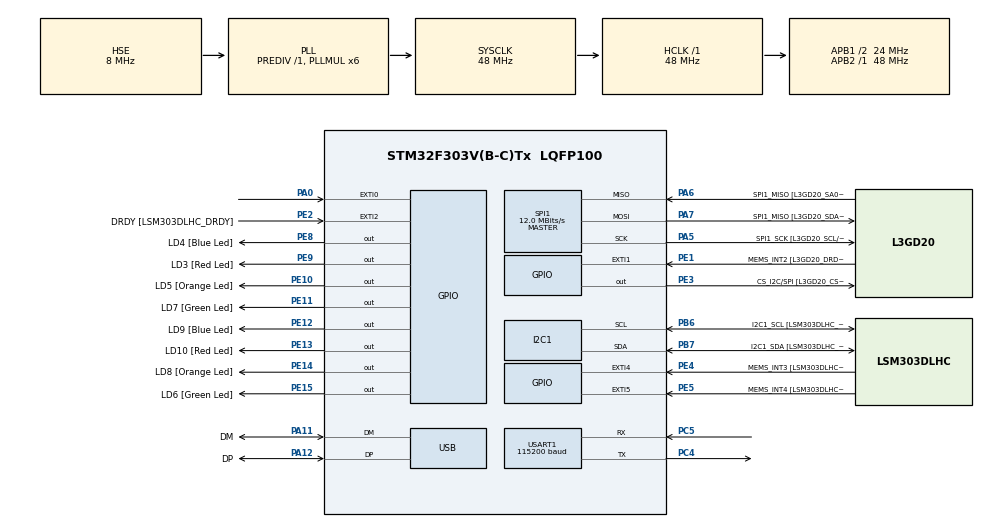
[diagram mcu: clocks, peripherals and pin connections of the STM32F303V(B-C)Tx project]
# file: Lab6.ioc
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I2C1.Timing=0x2000090E
I2C1.Timing-I2C=0x2000090E
Mcu.Family=STM32F3
Mcu.Name=STM32F303V(B-C)Tx
Mcu.Package=LQFP100
NVIC.EXTI0_IRQn=true\:0\:0\:false\:false\:true\:true\:true\:true
NVIC.PriorityGroup=NVIC_PRIORITYGROUP_0
NVIC.TIM2_IRQn=true\:0\:0\:false\:false\:true\:true\:true\:true
PA0.GPIO_PuPd=GPIO_PULLDOWN
PA0.Signal=GPXTI0
PA11.GPIO_Label=DM
PA11.Mode=Device
PA11.Signal=USB_DM
PA12.GPIO_Label=DP
PA12.Mode=Device
PA12.Signal=USB_DP
PA13.GPIO_Label=SWDIO
PA13.Mode=Serial_Wire
PA13.Signal=SYS_JTMS-SWDIO
PA14.GPIO_Label=SWCLK
PA14.Mode=Serial_Wire
PA14.Signal=SYS_JTCK-SWCLK
PA5.GPIO_Label=SPI1_SCK [L3GD20_SCL/SPC]
PA5.Mode=Full_Duplex_Master
PA5.Signal=SPI1_SCK
PA6.GPIO_Label=SPI1_MISO [L3GD20_SA0/SDO]
PA6.Mode=Full_Duplex_Master
PA6.Signal=SPI1_MISO
PA7.GPIO_Label=SPI1_MISO [L3GD20_SDA/SDI/SDO]
PA7.Mode=Full_Duplex_Master
PA7.Signal=SPI1_MOSI
PB3.GPIO_Label=SWO
PB3.Signal=SYS_JTDO-TRACESWO
PB6.GPIO_Label=I2C1_SCL [LSM303DLHC_SCL]
PB6.GPIO_Pu=GPIO_PULLUP
PB6.Mode=I2C
PB6.Signal=I2C1_SCL
PB7.GPIO_Label=I2C1_SDA [LSM303DLHC_SDA]
PB7.GPIO_Pu=GPIO_PULLUP
PB7.Mode=I2C
PB7.Signal=I2C1_SDA
PC14-OSC32_IN.GPIO_Label=OSC32_IN
PC14-OSC32_IN.Signal=RCC_OSC32_IN
PC15-OSC32_OUT.GPIO_Label=OSC32_OUT
PC15-OSC32_OUT.Signal=RCC_OSC32_OUT
PC4.Mode=Asynchronous
PC4.Signal=USART1_TX
PC5.Mode=Asynchronous
PC5.Signal=USART1_RX
PE1.GPIO_Label=MEMS_INT2 [L3GD20_DRDY/INT2]
PE1.GPIO_ModeDefaultEXTI=GPIO_MODE_EVT_RISING
PE1.Signal=GPXTI1
PE10.GPIO_Label=LD5 [Orange Led]
PE10.Signal=GPIO_Output
PE11.GPIO_Label=LD7 [Green Led]
PE11.Signal=GPIO_Output
PE12.GPIO_Label=LD9 [Blue Led]
PE12.Signal=GPIO_Output
PE13.GPIO_Label=LD10 [Red Led]
PE13.Signal=GPIO_Output
PE14.GPIO_Label=LD8 [Orange Led]
PE14.Signal=GPIO_Output
PE15.GPIO_Label=LD6 [Green Led]
PE15.Signal=GPIO_Output
PE2.GPIO_Label=DRDY [LSM303DLHC_DRDY]
PE2.GPIO_ModeDefaultEXTI=GPIO_MODE_EVT_RISING
PE2.Signal=GPXTI2
PE3.GPIO_Label=CS_I2C/SPI [L3GD20_CS_I2C/SPI]
PE3.Signal=GPIO_Output
PE4.GPIO_Label=MEMS_INT3 [LSM303DLHC_INT1]
PE4.GPIO_ModeDefaultEXTI=GPIO_MODE_EVT_RISING
PE4.Signal=GPXTI4
PE5.GPIO_Label=MEMS_INT4 [LSM303DLHC_INT2]
PE5.GPIO_ModeDefaultEXTI=GPIO_MODE_EVT_RISING
PE5.Signal=GPXTI5
PE8.GPIO_Label=LD4 [Blue Led]
PE8.Signal=GPIO_Output
PE9.GPIO_Label=LD3 [Red Led]
PE9.Signal=GPIO_Output
PF0-OSC_IN.GPIO_Label=OSC_IN
PF0-OSC_IN.Mode=HSE-External-Clock-Source
PF0-OSC_IN.Signal=RCC_OSC_IN
PF1-OSC_OUT.GPIO_Label=OSC_OUT
PF1-OSC_OUT.Signal=RCC_OSC_OUT
ProjectManager.HeapSize=0x200
ProjectManager.StackSize=0x400
ProjectManager.TargetToolchain=CMake
RCC.AHBFreq_Value=48000000
RCC.APB1CLKDivider=RCC_HCLK_DIV2
RCC.APB1Freq_Value=24000000
RCC.APB1TimFreq_Value=48000000
RCC.APB2Freq_Value=48000000
RCC.APB2TimFreq_Value=48000000
RCC.CortexFreq_Value=48000000
RCC.HCLKFreq_Value=48000000
RCC.HSE_VALUE=8000000
RCC.HSI_VALUE=8000000
RCC.LSE_VALUE=32768
RCC.PLLMUL=RCC_PLL_MUL6
RCC.SYSCLKFreq_VALUE=48000000
RCC.SYSCLKSourceVirtual=RCC_SYSCLKSOURCE_PLLCLK
RCC.USBFreq_Value=48000000
SPI1.BaudRatePrescaler=SPI_BAUDRATEPRESCALER_4
SPI1.BaudRatePrescaler-Full_Duplex_Master=SPI_BAUDRATEPRESCALER_2
SPI1.CalculateBaudRate=12.0 MBits/s
SPI1.CalculateBaudRate-Full_Duplex_Master=24.0 MBits/s
SPI1.Direction=SPI_DIRECTION_2LINES
SPI1.Mode=SPI_MODE_MASTER
SPI1.Mode-Full_Duplex_Master=SPI_MODE_MASTER
SPI1.VirtualType=VM_MASTER
TIM2.Prescaler=9
USART1.BaudRate=115200
USART1.VirtualMode-Asynchronous=VM_ASYNC
VP_TIM2_VS_ClockSourceINT.Mode=Internal
board=STM32F3DISCOVERY

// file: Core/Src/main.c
/* USER CODE BEGIN Header */
/**
  ******************************************************************************
  * @file           : main.c
  * @brief          : Main program body
  ******************************************************************************
  * @attention
  *
  * Copyright (c) 2026 STMicroelectronics.
  * All rights reserved.
  *
  * This software is licensed under terms that can be found in the LICENSE file
  * in the root directory of this software component.
  * If no LICENSE file comes with this software, it is provided AS-IS.
  *
  ******************************************************************************
  */
/* USER CODE END Header */
#include "main.h"
#include "stdio.h"
#include "stm32f3xx_hal_gpio.h"

I2C_HandleTypeDef hi2c1;

SPI_HandleTypeDef hspi1;

TIM_HandleTypeDef htim2;

UART_HandleTypeDef huart1;

PCD_HandleTypeDef hpcd_USB_FS;

/* USER CODE BEGIN PV */
volatile uint8_t first = 1;
volatile uint8_t check = 0;
volatile uint8_t idx = 0;
volatile uint32_t ticks[10] = {0};
uint32_t freq = 0;

/* USER CODE END PV */

void SystemClock_Config(void);
static void MX_GPIO_Init(void);
static void MX_I2C1_Init(void);
static void MX_SPI1_Init(void);
static void MX_TIM2_Init(void);
static void MX_USB_PCD_Init(void);
static void MX_USART1_UART_Init(void);

/* USER CODE BEGIN 0 */
void HAL_GPIO_EXTI_Callback(uint16_t GPIO_Pin)
{
  if (GPIO_Pin == GPIO_PIN_0) {
    if (first == 1) {
      first = 0;
      __HAL_TIM_SET_COUNTER(&htim2, 0);
      HAL_TIM_Base_Start(&htim2);
      HAL_GPIO_TogglePin(GPIOE, GPIO_PIN_15);
    } else if (first == 0) {
      uint32_t cap = __HAL_TIM_GET_COUNTER(&htim2);
      first = 1;
      HAL_TIM_Base_Stop(&htim2);

      if (!check) {
        ticks[idx] = cap;
        idx++;
        if (idx >= 10) {
          check = 1;
        }
      }
    }
  }
}

/* USER CODE END 0 */

int main(void)
{

  /* MCU Configuration--------------------------------------------------------*/

  /* Reset of all peripherals, Initializes the Flash interface and the Systick. */
  HAL_Init();

  /* Configure the system clock */
  SystemClock_Config();

  /* Initialize all configured peripherals */
  MX_GPIO_Init();
  MX_I2C1_Init();
  MX_SPI1_Init();
  MX_TIM2_Init();
  MX_USB_PCD_Init();
  MX_USART1_UART_Init();

  /* Infinite loop */
  while (1)
  {
    /* USER CODE BEGIN 3 */
    if (check)
    {
        check = 0;
        uint32_t sum = 0;
        for (int i = 0; i < 10; i++)
        {
            sum += ticks[i];
        }
        idx = 0;
        uint32_t avg = sum / 10;
        uint32_t freq_int = 4800000 / avg;
        uint32_t err_int = 4800000 / (avg * avg);
        char msg[80];
        int len = snprintf(msg, sizeof(msg), "Freq: %ld +/- %ld Hz\r\n", freq_int, err_int);
        HAL_UART_Transmit(&huart1, (uint8_t*)msg, len, HAL_MAX_DELAY);
    }
    HAL_Delay(100);
  }
  /* USER CODE END 3 */
}

void SystemClock_Config(void)
{
  RCC_OscInitTypeDef RCC_OscInitStruct = {0};
  RCC_ClkInitTypeDef RCC_ClkInitStruct = {0};
  RCC_PeriphCLKInitTypeDef PeriphClkInit = {0};

  /** Initializes the RCC Oscillators according to the specified parameters
  * in the RCC_OscInitTypeDef structure.
  */
  RCC_OscInitStruct.OscillatorType = RCC_OSCILLATORTYPE_HSI|RCC_OSCILLATORTYPE_HSE;
  RCC_OscInitStruct.HSEState = RCC_HSE_BYPASS;
  RCC_OscInitStruct.HSEPredivValue = RCC_HSE_PREDIV_DIV1;
  RCC_OscInitStruct.HSIState = RCC_HSI_ON;
  RCC_OscInitStruct.HSICalibrationValue = RCC_HSICALIBRATION_DEFAULT;
  RCC_OscInitStruct.PLL.PLLState = RCC_PLL_ON;
  RCC_OscInitStruct.PLL.PLLSource = RCC_PLLSOURCE_HSE;
  RCC_OscInitStruct.PLL.PLLMUL = RCC_PLL_MUL6;
  if (HAL_RCC_OscConfig(&RCC_OscInitStruct) != HAL_OK)
  {
    Error_Handler();
  }

  /** Initializes the CPU, AHB and APB buses clocks
  */
  RCC_ClkInitStruct.ClockType = RCC_CLOCKTYPE_HCLK|RCC_CLOCKTYPE_SYSCLK
                              |RCC_CLOCKTYPE_PCLK1|RCC_CLOCKTYPE_PCLK2;
  RCC_ClkInitStruct.SYSCLKSource = RCC_SYSCLKSOURCE_PLLCLK;
  RCC_ClkInitStruct.AHBCLKDivider = RCC_SYSCLK_DIV1;
  RCC_ClkInitStruct.APB1CLKDivider = RCC_HCLK_DIV2;
  RCC_ClkInitStruct.APB2CLKDivider = RCC_HCLK_DIV1;

  if (HAL_RCC_ClockConfig(&RCC_ClkInitStruct, FLASH_LATENCY_1) != HAL_OK)
  {
    Error_Handler();
  }
  PeriphClkInit.PeriphClockSelection = RCC_PERIPHCLK_USB|RCC_PERIPHCLK_USART1
                              |RCC_PERIPHCLK_I2C1;
  PeriphClkInit.Usart1ClockSelection = RCC_USART1CLKSOURCE_PCLK2;
  PeriphClkInit.I2c1ClockSelection = RCC_I2C1CLKSOURCE_HSI;
  PeriphClkInit.USBClockSelection = RCC_USBCLKSOURCE_PLL;
  if (HAL_RCCEx_PeriphCLKConfig(&PeriphClkInit) != HAL_OK)
  {
    Error_Handler();
  }
}

static void MX_I2C1_Init(void)
{

  hi2c1.Instance = I2C1;
  hi2c1.Init.Timing = 0x2000090E;
  hi2c1.Init.OwnAddress1 = 0;
  hi2c1.Init.AddressingMode = I2C_ADDRESSINGMODE_7BIT;
  hi2c1.Init.DualAddressMode = I2C_DUALADDRESS_DISABLE;
  hi2c1.Init.OwnAddress2 = 0;
  hi2c1.Init.OwnAddress2Masks = I2C_OA2_NOMASK;
  hi2c1.Init.GeneralCallMode = I2C_GENERALCALL_DISABLE;
  hi2c1.Init.NoStretchMode = I2C_NOSTRETCH_DISABLE;
  if (HAL_I2C_Init(&hi2c1) != HAL_OK)
  {
    Error_Handler();
  }

  /** Configure Analogue filter
  */
  if (HAL_I2CEx_ConfigAnalogFilter(&hi2c1, I2C_ANALOGFILTER_ENABLE) != HAL_OK)
  {
    Error_Handler();
  }

  /** Configure Digital filter
  */
  if (HAL_I2CEx_ConfigDigitalFilter(&hi2c1, 0) != HAL_OK)
  {
    Error_Handler();
  }

}

static void MX_SPI1_Init(void)
{

  /* SPI1 parameter configuration*/
  hspi1.Instance = SPI1;
  hspi1.Init.Mode = SPI_MODE_MASTER;
  hspi1.Init.Direction = SPI_DIRECTION_2LINES;
  hspi1.Init.DataSize = SPI_DATASIZE_4BIT;
  hspi1.Init.CLKPolarity = SPI_POLARITY_LOW;
  hspi1.Init.CLKPhase = SPI_PHASE_1EDGE;
  hspi1.Init.NSS = SPI_NSS_SOFT;
  hspi1.Init.BaudRatePrescaler = SPI_BAUDRATEPRESCALER_4;
  hspi1.Init.FirstBit = SPI_FIRSTBIT_MSB;
  hspi1.Init.TIMode = SPI_TIMODE_DISABLE;
  hspi1.Init.CRCCalculation = SPI_CRCCALCULATION_DISABLE;
  hspi1.Init.CRCPolynomial = 7;
  hspi1.Init.CRCLength = SPI_CRC_LENGTH_DATASIZE;
  hspi1.Init.NSSPMode = SPI_NSS_PULSE_ENABLE;
  if (HAL_SPI_Init(&hspi1) != HAL_OK)
  {
    Error_Handler();
  }

}

static void MX_TIM2_Init(void)
{

  TIM_ClockConfigTypeDef sClockSourceConfig = {0};
  TIM_MasterConfigTypeDef sMasterConfig = {0};

  htim2.Instance = TIM2;
  htim2.Init.Prescaler = 9;
  htim2.Init.CounterMode = TIM_COUNTERMODE_UP;
  htim2.Init.Period = 4294967295;
  htim2.Init.ClockDivision = TIM_CLOCKDIVISION_DIV1;
  htim2.Init.AutoReloadPreload = TIM_AUTORELOAD_PRELOAD_DISABLE;
  if (HAL_TIM_Base_Init(&htim2) != HAL_OK)
  {
    Error_Handler();
  }
  sClockSourceConfig.ClockSource = TIM_CLOCKSOURCE_INTERNAL;
  if (HAL_TIM_ConfigClockSource(&htim2, &sClockSourceConfig) != HAL_OK)
  {
    Error_Handler();
  }
  sMasterConfig.MasterOutputTrigger = TIM_TRGO_RESET;
  sMasterConfig.MasterSlaveMode = TIM_MASTERSLAVEMODE_DISABLE;
  if (HAL_TIMEx_MasterConfigSynchronization(&htim2, &sMasterConfig) != HAL_OK)
  {
    Error_Handler();
  }

}

static void MX_USART1_UART_Init(void)
{

  huart1.Instance = USART1;
  huart1.Init.BaudRate = 115200;
  huart1.Init.WordLength = UART_WORDLENGTH_8B;
  huart1.Init.StopBits = UART_STOPBITS_1;
  huart1.Init.Parity = UART_PARITY_NONE;
  huart1.Init.Mode = UART_MODE_TX_RX;
  huart1.Init.HwFlowCtl = UART_HWCONTROL_NONE;
  huart1.Init.OverSampling = UART_OVERSAMPLING_16;
  huart1.Init.OneBitSampling = UART_ONE_BIT_SAMPLE_DISABLE;
  huart1.AdvancedInit.AdvFeatureInit = UART_ADVFEATURE_NO_INIT;
  if (HAL_UART_Init(&huart1) != HAL_OK)
  {
    Error_Handler();
  }

}

static void MX_USB_PCD_Init(void)
{

  hpcd_USB_FS.Instance = USB;
  hpcd_USB_FS.Init.dev_endpoints = 8;
  hpcd_USB_FS.Init.speed = PCD_SPEED_FULL;
  hpcd_USB_FS.Init.phy_itface = PCD_PHY_EMBEDDED;
  hpcd_USB_FS.Init.low_power_enable = DISABLE;
  hpcd_USB_FS.Init.battery_charging_enable = DISABLE;
  if (HAL_PCD_Init(&hpcd_USB_FS) != HAL_OK)
  {
    Error_Handler();
  }

}

static void MX_GPIO_Init(void)
{
  GPIO_InitTypeDef GPIO_InitStruct = {0};

  /* GPIO Ports Clock Enable */
  __HAL_RCC_GPIOE_CLK_ENABLE();
  __HAL_RCC_GPIOC_CLK_ENABLE();
  __HAL_RCC_GPIOF_CLK_ENABLE();
  __HAL_RCC_GPIOA_CLK_ENABLE();
  __HAL_RCC_GPIOB_CLK_ENABLE();

  /*Configure GPIO pin Output Level */
  HAL_GPIO_WritePin(GPIOE, CS_I2C_SPI_Pin|LD4_Pin|LD3_Pin|LD5_Pin
                          |LD7_Pin|LD9_Pin|LD10_Pin|LD8_Pin
                          |LD6_Pin, GPIO_PIN_RESET);

  /*Configure GPIO pins : DRDY_Pin MEMS_INT3_Pin MEMS_INT4_Pin MEMS_INT2_Pin */
  GPIO_InitStruct.Pin = DRDY_Pin|MEMS_INT3_Pin|MEMS_INT4_Pin|MEMS_INT2_Pin;
  GPIO_InitStruct.Mode = GPIO_MODE_EVT_RISING;
  GPIO_InitStruct.Pull = GPIO_NOPULL;
  HAL_GPIO_Init(GPIOE, &GPIO_InitStruct);

  /*Configure GPIO pins : CS_I2C_SPI_Pin LD4_Pin LD3_Pin LD5_Pin
                           LD7_Pin LD9_Pin LD10_Pin LD8_Pin
                           LD6_Pin */
  GPIO_InitStruct.Pin = CS_I2C_SPI_Pin|LD4_Pin|LD3_Pin|LD5_Pin
                          |LD7_Pin|LD9_Pin|LD10_Pin|LD8_Pin
                          |LD6_Pin;
  GPIO_InitStruct.Mode = GPIO_MODE_OUTPUT_PP;
  GPIO_InitStruct.Pull = GPIO_NOPULL;
  GPIO_InitStruct.Speed = GPIO_SPEED_FREQ_LOW;
  HAL_GPIO_Init(GPIOE, &GPIO_InitStruct);

  /*Configure GPIO pin : PA0 */
  GPIO_InitStruct.Pin = GPIO_PIN_0;
  GPIO_InitStruct.Mode = GPIO_MODE_IT_RISING;
  GPIO_InitStruct.Pull = GPIO_PULLDOWN;
  HAL_GPIO_Init(GPIOA, &GPIO_InitStruct);

  /* EXTI interrupt init*/
  HAL_NVIC_SetPriority(EXTI0_IRQn, 0, 0);
  HAL_NVIC_EnableIRQ(EXTI0_IRQn);

}

void Error_Handler(void)
{
  __disable_irq();
  while (1)
  {
  }
}
